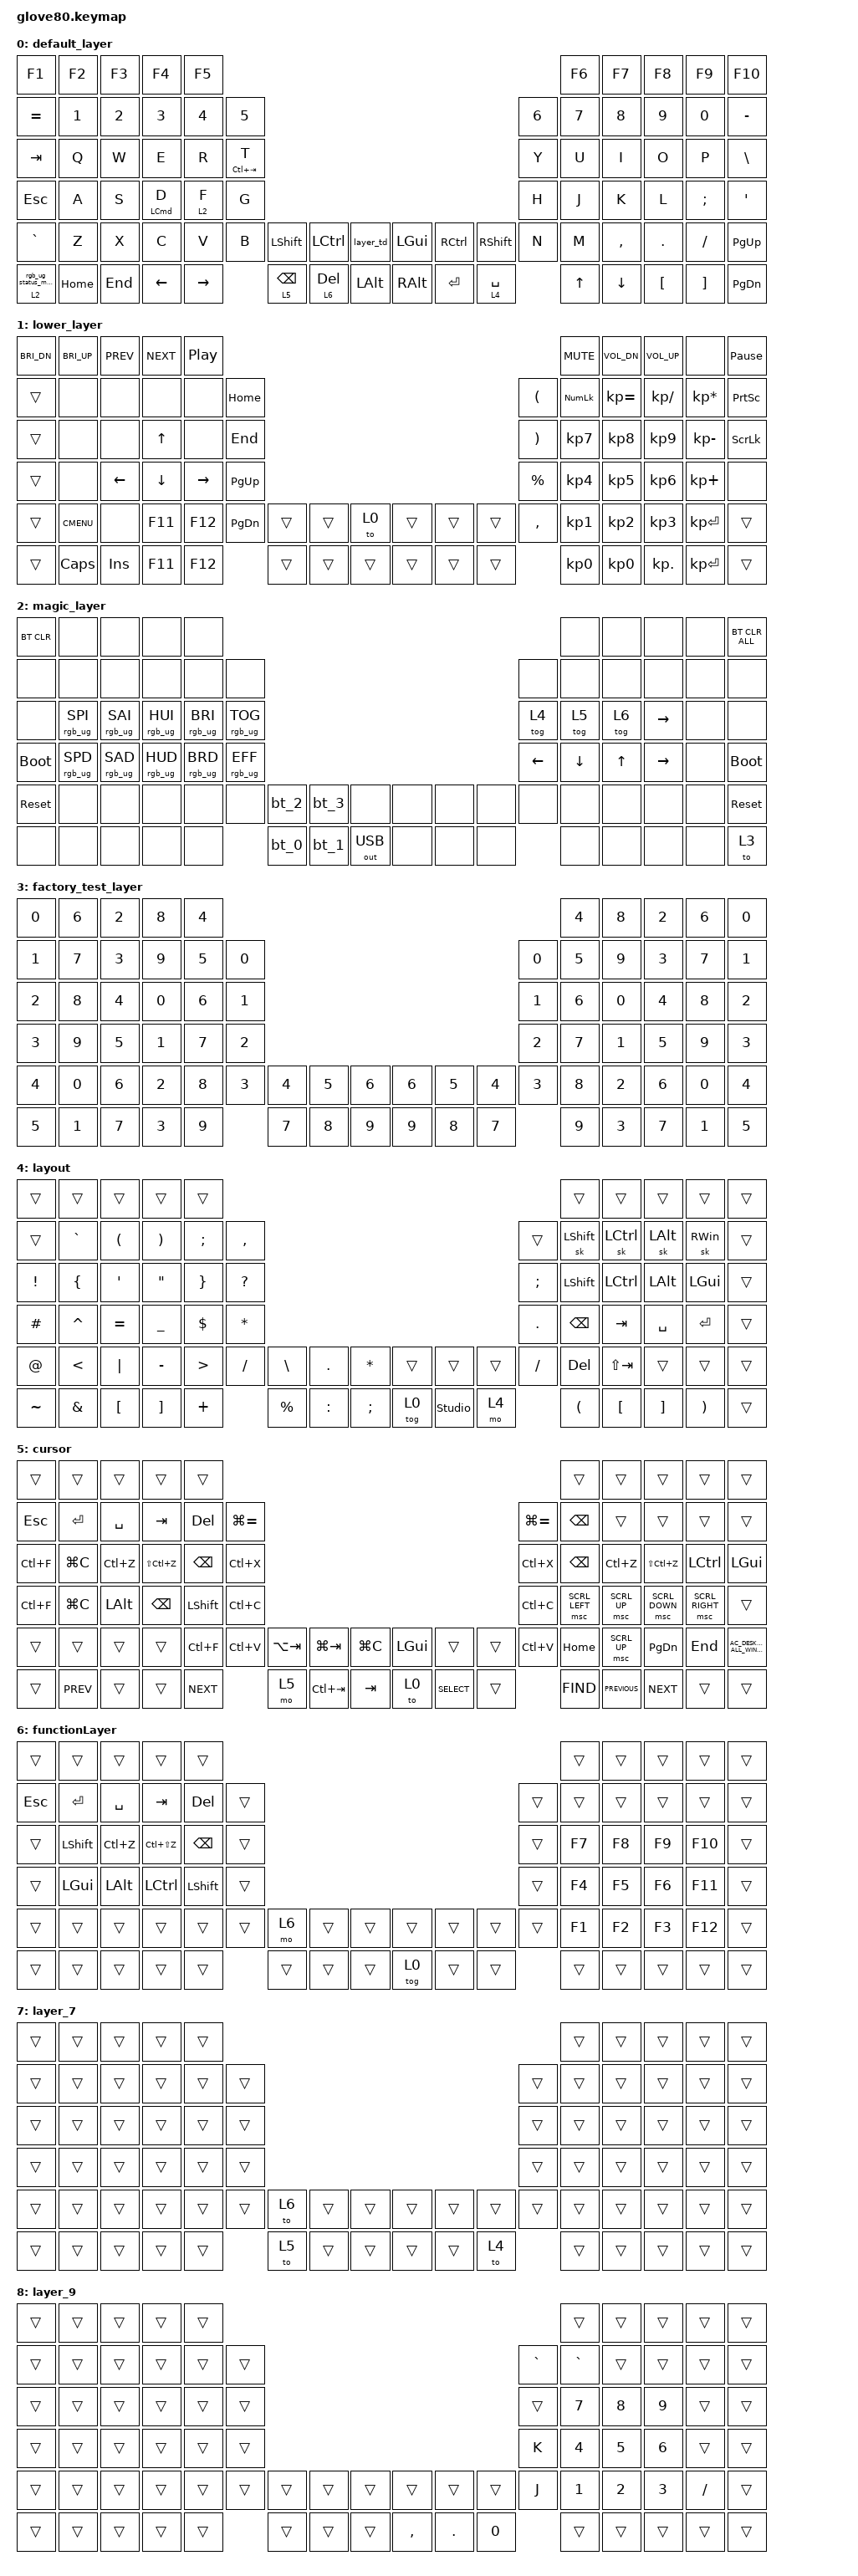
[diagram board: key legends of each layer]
/*
 * Copyright (c) 2020 The ZMK Contributors
 *
 * SPDX-License-Identifier: MIT
 */

#include <behaviors.dtsi>
#include <dt-bindings/zmk/bt.h>
#include <dt-bindings/zmk/keys.h>
#include <dt-bindings/zmk/outputs.h>
#include <dt-bindings/zmk/pointing.h>
#include <dt-bindings/zmk/rgb.h>

#define HYPER LC(LS(LG(LALT)))

// layers

#define DEFAULT 0
#define LOWER 1
#define MAGIC 2
#define FACTORY_TEST 3

/ {
    behaviors {
        // For the "layer" key, it'd nice to be able to use it as either a shift or a toggle.
        // Configure it as a tap dance, so the first tap (or hold) is a &mo and the second tap is a &to

        layer_td: tap_dance_0 {
            compatible = "zmk,behavior-tap-dance";
            label = "LAYER_TAP_DANCE";
            #binding-cells = <0>;
            tapping-term-ms = <200>;
            bindings = <&mo 1>, <&to 1>;
        };

        magic: magic_hold_tap {
            compatible = "zmk,behavior-hold-tap";
            label = "MAGIC_HOLD_TAP";
            #binding-cells = <2>;
            flavor = "tap-preferred";
            tapping-term-ms = <200>;
            bindings = <&mo>, <&rgb_ug_status_macro>;
        };

        hm: hm {
            compatible = "zmk,behavior-hold-tap";
            label = "HM";
            bindings = <&kp>, <&kp>;

            #binding-cells = <2>;
            tapping-term-ms = <400>;
            quick-tap-ms = <400>;
            require-prior-idle-ms = <400>;
            flavor = "tap-preferred";
        };
    };

    macros {
        rgb_ug_status_macro: rgb_ug_status_macro_0 {
            label = "RGB_UG_STATUS";
            compatible = "zmk,behavior-macro";
            #binding-cells = <0>;
            bindings = <&rgb_ug RGB_STATUS>;
        };

        bt_0: bt_profile_macro_0 {
            label = "BT_0";
            compatible = "zmk,behavior-macro";
            #binding-cells = <0>;
            bindings = <&out OUT_BLE &bt BT_SEL 0>;
        };

        bt_1: bt_profile_macro_1 {
            label = "BT_1";
            compatible = "zmk,behavior-macro";
            #binding-cells = <0>;
            bindings = <&out OUT_BLE &bt BT_SEL 1>;
        };

        bt_2: bt_profile_macro_2 {
            label = "BT_2";
            compatible = "zmk,behavior-macro";
            #binding-cells = <0>;
            bindings = <&out OUT_BLE &bt BT_SEL 2>;
        };

        bt_3: bt_profile_macro_3 {
            label = "BT_3";
            compatible = "zmk,behavior-macro";
            #binding-cells = <0>;
            bindings = <&out OUT_BLE &bt BT_SEL 3>;
        };
    };

    keymap {
        compatible = "zmk,keymap";

        default_layer {
            // ---------------------------------------------------------------------------------------------------------------------------------
            // |  F1   |  F2 |  F3 |  F4  |  F5  |                                                               |  F6   |  F7   |  F8  |   F9  |  F10 |
            // |  =    |  1  |  2  |  3   |  4   |  5   |                                                 |  6   |   7   |   8   |  9   |   0   |   -  |
            // |  TAB  |  Q  |  W  |  E   |  R   |  T   |                                                 |  Y   |   U   |   I   |  O   |   P   |   \  |
            // |  ESC  |  A  |  S  |  D   |  F   |  G   |                                                 |  H   |   J   |   K   |  L   |   ;   |   '  |
            // |   `   |  Z  |  X  |  C   |  V   |  B   | LSHFT | LCTRL | LOWER | | LGUI  | RCTRL | RSHFT |  N   |   M   |   ,   |  .   |   /   | PGUP |
            // | MAGIC | HOME| END | LEFT | RIGHT|      | BSPC  | DEL   | LALT  | | RALT  | RET   | SPACE |      |  UP   | DOWN  |  [   |   ]   | PGDN |

            bindings = <
&kp F1      &kp F2    &kp F3   &kp F4              &kp F5                                                                                                              &kp F6  &kp F7     &kp F8    &kp F9    &kp F10
&kp EQUAL   &kp N1    &kp N2   &kp N3              &kp N4     &kp N5                                                                                           &kp N6  &kp N7  &kp N8     &kp N9    &kp N0    &kp MINUS
&kp TAB     &kp Q     &kp W    &kp E               &kp R      &hm LC(TAB) T                                                                                    &kp Y   &kp U   &kp I      &kp O     &kp P     &kp BSLH
&kp ESC     &kp A     &kp S    &hm LEFT_COMMAND D  &lt 2 F    &kp G                                                                                            &kp H   &kp J   &kp K      &kp L     &kp SEMI  &kp SQT
&kp GRAVE   &kp Z     &kp X    &kp C               &kp V      &kp B          &kp LEFT_SHIFT   &kp LCTRL  &layer_td  &kp LGUI       &kp RCTRL  &kp RIGHT_SHIFT  &kp N   &kp M   &kp COMMA  &kp DOT   &kp FSLH  &kp PG_UP
&magic 2 0  &kp HOME  &kp END  &kp LEFT            &kp RIGHT                 &lt 5 BACKSPACE  &lt 6 DEL  &kp LALT   &kp RIGHT_ALT  &kp RET    &lt 4 SPACE              &kp UP  &kp DOWN   &kp LBKT  &kp RBKT  &kp PG_DN
            >;
        };

        lower_layer {
            bindings = <
&kp C_BRI_DN  &kp C_BRI_UP  &kp C_PREV  &kp C_NEXT  &kp C_PP                                                                         &kp C_MUTE  &kp C_VOL_DN  &kp C_VOL_UP   &none            &kp PAUSE_BREAK
&trans        &none         &none       &none       &none      &kp HOME                                                   &kp LPAR   &kp KP_NUM  &kp KP_EQUAL  &kp KP_DIVIDE  &kp KP_MULTIPLY  &kp PSCRN
&trans        &none         &none       &kp UP      &none      &kp END                                                    &kp RPAR   &kp KP_N7   &kp KP_N8     &kp KP_N9      &kp KP_MINUS     &kp SLCK
&trans        &none         &kp LEFT    &kp DOWN    &kp RIGHT  &kp PG_UP                                                  &kp PRCNT  &kp KP_N4   &kp KP_N5     &kp KP_N6      &kp KP_PLUS      &none
&trans        &kp K_CMENU   &none       &kp F11     &kp F12    &kp PG_DN  &trans  &trans  &to 0   &trans  &trans  &trans  &kp COMMA  &kp KP_N1   &kp KP_N2     &kp KP_N3      &kp KP_ENTER     &trans
&trans        &kp CAPS      &kp INS     &kp F11     &kp F12               &trans  &trans  &trans  &trans  &trans  &trans             &kp KP_N0   &kp KP_N0     &kp KP_DOT     &kp KP_ENTER     &trans
            >;
        };

        magic_layer {
            bindings = <
&bt BT_CLR   &none            &none            &none            &none                                                                                              &none           &none         &none            &none  &bt BT_CLR_ALL
&none        &none            &none            &none            &none            &none                                                             &none           &none           &none         &none            &none  &none
&none        &rgb_ug RGB_SPI  &rgb_ug RGB_SAI  &rgb_ug RGB_HUI  &rgb_ug RGB_BRI  &rgb_ug RGB_TOG                                                   &tog 4          &tog 5          &tog 6        &kp RIGHT_ARROW  &none  &none
&bootloader  &rgb_ug RGB_SPD  &rgb_ug RGB_SAD  &rgb_ug RGB_HUD  &rgb_ug RGB_BRD  &rgb_ug RGB_EFF                                                   &kp LEFT_ARROW  &kp DOWN_ARROW  &kp UP_ARROW  &kp RIGHT_ARROW  &none  &bootloader
&sys_reset   &none            &none            &none            &none            &none            &bt_2  &bt_3  &none         &none  &none  &none  &none           &none           &none         &none            &none  &sys_reset
&none        &none            &none            &none            &none                             &bt_0  &bt_1  &out OUT_USB  &none  &none  &none                  &none           &none         &none            &none  &to 3
            >;
        };

        factory_test_layer {
            bindings = <
&kp N0  &kp N6  &kp N2  &kp N8  &kp N4                                                                  &kp N4  &kp N8  &kp N2  &kp N6  &kp N0
&kp N1  &kp N7  &kp N3  &kp N9  &kp N5  &kp N0                                                  &kp N0  &kp N5  &kp N9  &kp N3  &kp N7  &kp N1
&kp N2  &kp N8  &kp N4  &kp N0  &kp N6  &kp N1                                                  &kp N1  &kp N6  &kp N0  &kp N4  &kp N8  &kp N2
&kp N3  &kp N9  &kp N5  &kp N1  &kp N7  &kp N2                                                  &kp N2  &kp N7  &kp N1  &kp N5  &kp N9  &kp N3
&kp N4  &kp N0  &kp N6  &kp N2  &kp N8  &kp N3  &kp N4  &kp N5  &kp N6  &kp N6  &kp N5  &kp N4  &kp N3  &kp N8  &kp N2  &kp N6  &kp N0  &kp N4
&kp N5  &kp N1  &kp N7  &kp N3  &kp N9          &kp N7  &kp N8  &kp N9  &kp N9  &kp N8  &kp N7          &kp N9  &kp N3  &kp N7  &kp N1  &kp N5
            >;
        };

        layout {
            bindings = <
&trans           &trans          &trans                &trans                 &trans                                                                                                               &trans                &trans            &trans             &trans                 &trans
&trans           &kp GRAVE       &kp LEFT_PARENTHESIS  &kp RIGHT_PARENTHESIS  &kp SEMICOLON     &kp COMMA                                                                           &trans         &sk LEFT_SHIFT        &sk LEFT_CONTROL  &sk LEFT_ALT       &sk RIGHT_WIN          &trans
&kp EXCLAMATION  &kp LEFT_BRACE  &kp SQT               &kp DOUBLE_QUOTES      &kp RIGHT_BRACE   &kp QUESTION                                                                        &kp SEMICOLON  &kp LSHFT             &kp LEFT_CONTROL  &kp LEFT_ALT       &kp LGUI               &trans
&kp HASH         &kp CARET       &kp EQUAL             &kp UNDERSCORE         &kp DOLLAR        &kp ASTRK                                                                           &kp PERIOD     &kp BACKSPACE         &kp TAB           &kp SPACE          &kp ENTER              &trans
&kp AT_SIGN      &kp LESS_THAN   &kp PIPE              &kp MINUS              &kp GREATER_THAN  &kp SLASH     &kp BACKSLASH  &kp PERIOD  &kp ASTRK  &trans  &trans          &trans  &kp SLASH      &kp DELETE            &kp LS(TAB)       &trans             &trans                 &trans
&kp TILDE        &kp AMPERSAND   &kp LEFT_BRACKET      &kp RIGHT_BRACKET      &kp PLUS                        &kp PERCENT    &kp COLON   &kp SEMI   &tog 0  &studio_unlock  &mo 4                  &kp LEFT_PARENTHESIS  &kp LEFT_BRACKET  &kp RIGHT_BRACKET  &kp RIGHT_PARENTHESIS  &trans
            >;
        };

        cursor {
            bindings = <
&trans     &trans      &trans     &trans         &trans                                                                                                             &trans          &trans          &trans          &trans           &trans
&kp ESC    &kp RET     &kp SPACE  &kp TAB        &kp DEL         &kp LG(EQUAL)                                                                       &kp LG(EQUAL)  &kp BSPC        &trans          &trans          &trans           &trans
&kp LC(F)  &kp LG(C)   &kp LC(Z)  &kp LS(LC(Z))  &kp BSPC        &kp LC(X)                                                                           &kp LC(X)      &kp BSPC        &kp LC(Z)       &kp LS(LC(Z))   &kp LCTRL        &kp LGUI
&kp LC(F)  &kp LG(C)   &kp LALT   &kp BSPC       &kp LEFT_SHIFT  &kp LC(C)                                                                           &kp LC(C)      &msc SCRL_LEFT  &msc SCRL_UP    &msc SCRL_DOWN  &msc SCRL_RIGHT  &trans
&trans     &trans      &trans     &trans         &kp LC(F)       &kp LC(V)      &kp LA(TAB)  &kp LG(TAB)  &kp LG(C)  &kp LGUI  &trans        &trans  &kp LC(V)      &kp HOME        &msc SCRL_UP    &kp PAGE_DOWN   &kp END          &kp C_AC_DESKTOP_SHOW_ALL_WINDOWS
&trans     &kp K_PREV  &trans     &trans         &kp K_NEXT                     &mo 5        &kp LC(TAB)  &kp TAB    &to 0     &kp K_SELECT  &trans                 &kp K_FIND      &kp K_PREVIOUS  &kp K_NEXT      &trans           &trans
            >;
        };

        functionLayer {
            bindings = <
&trans   &trans     &trans     &trans         &trans                                                                     &trans  &trans  &trans  &trans   &trans
&kp ESC  &kp RET    &kp SPACE  &kp TAB        &kp DEL    &trans                                                  &trans  &trans  &trans  &trans  &trans   &trans
&trans   &kp LSHFT  &kp LC(Z)  &kp LC(LS(Z))  &kp BSPC   &trans                                                  &trans  &kp F7  &kp F8  &kp F9  &kp F10  &trans
&trans   &kp LGUI   &kp LALT   &kp LCTRL      &kp LSHFT  &trans                                                  &trans  &kp F4  &kp F5  &kp F6  &kp F11  &trans
&trans   &trans     &trans     &trans         &trans     &trans  &mo 6   &trans  &trans  &trans  &trans  &trans  &trans  &kp F1  &kp F2  &kp F3  &kp F12  &trans
&trans   &trans     &trans     &trans         &trans             &trans  &trans  &trans  &tog 0  &trans  &trans          &trans  &trans  &trans  &trans   &trans
            >;
        };

        layer_7 {
            bindings = <
&trans  &trans  &trans  &trans  &trans                                                                 &trans  &trans  &trans  &trans  &trans
&trans  &trans  &trans  &trans  &trans  &trans                                                 &trans  &trans  &trans  &trans  &trans  &trans
&trans  &trans  &trans  &trans  &trans  &trans                                                 &trans  &trans  &trans  &trans  &trans  &trans
&trans  &trans  &trans  &trans  &trans  &trans                                                 &trans  &trans  &trans  &trans  &trans  &trans
&trans  &trans  &trans  &trans  &trans  &trans  &to 6  &trans  &trans  &trans  &trans  &trans  &trans  &trans  &trans  &trans  &trans  &trans
&trans  &trans  &trans  &trans  &trans          &to 5  &trans  &trans  &trans  &trans  &to 4           &trans  &trans  &trans  &trans  &trans
            >;
        };

        layer_9 {
            bindings = <
&trans  &trans  &trans  &trans  &trans                                                                         &trans     &trans  &trans  &trans    &trans
&trans  &trans  &trans  &trans  &trans  &trans                                                      &kp GRAVE  &kp GRAVE  &trans  &trans  &trans    &trans
&trans  &trans  &trans  &trans  &trans  &trans                                                      &trans     &kp N7     &kp N8  &kp N9  &trans    &trans
&trans  &trans  &trans  &trans  &trans  &trans                                                      &kp K      &kp N4     &kp N5  &kp N6  &trans    &trans
&trans  &trans  &trans  &trans  &trans  &trans  &trans  &trans  &trans  &trans     &trans   &trans  &kp J      &kp N1     &kp N2  &kp N3  &kp FSLH  &trans
&trans  &trans  &trans  &trans  &trans          &trans  &trans  &trans  &kp COMMA  &kp DOT  &kp N0             &trans     &trans  &trans  &trans    &trans
            >;
        };
    };
};
